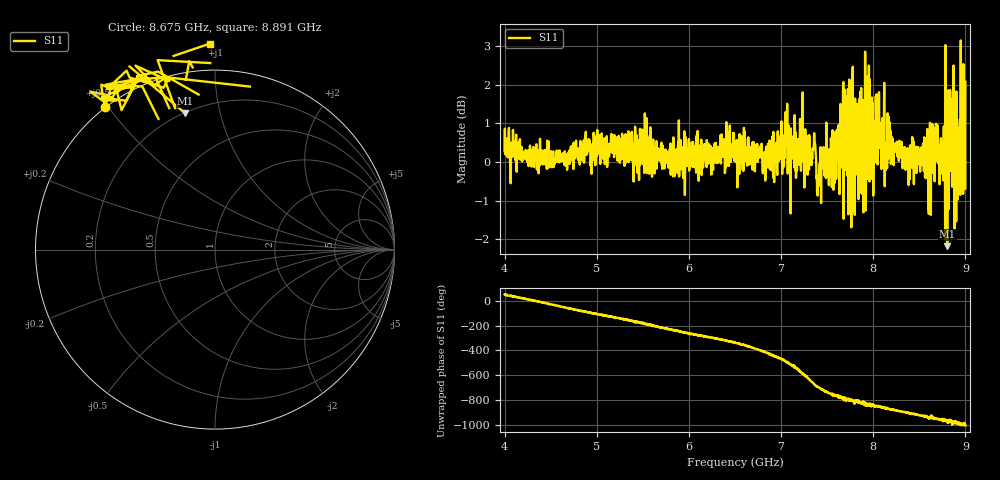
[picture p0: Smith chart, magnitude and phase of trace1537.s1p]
! Created with skrf 1.8.0 (http://scikit-rf.org).
# Hz S RI R 50.0
!freq ReS11 ImS11
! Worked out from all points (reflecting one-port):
!   1601 points, 4 GHz to 9 GHz, reference 50 ohm
!   lowest |S11| = -2.2 dB at 8.803 GHz (marker M1), VSWR 8.01, Z = 10.2 + j39.2 ohm
!   phase of S11 starts at 50 deg and turns -1058 deg over the sweep
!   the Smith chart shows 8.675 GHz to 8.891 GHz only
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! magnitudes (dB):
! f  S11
! 4 GHz  0.3
! 4.625 GHz  0.0
! 5.25 GHz  0.0
! 5.875 GHz  0.1
! 6.5 GHz  0.4
! 6.825 GHz  0.2
! 7.059 GHz  0.7
! 7.125 GHz  0.6
! 7.353 GHz  0.4
! 7.409 GHz  -0.5
! 7.469 GHz  -0.2
! 7.575 GHz  0.6
! 7.669 GHz  0.4
! 7.75 GHz  -0.2
! 7.784 GHz  -1.0
! 7.834 GHz  0.9
! 7.881 GHz  0.1
! 7.928 GHz  1.1
! 7.997 GHz  0.8
! 8.05 GHz  0.7
! 8.375 GHz  -0.1
! 8.562 GHz  -0.4
! 8.581 GHz  0.3
! 8.803 GHz  -2.2
! 8.819 GHz  0.4
! 8.919 GHz  -0.2
! 8.972 GHz  0.7
! 9 GHz  -0.7
